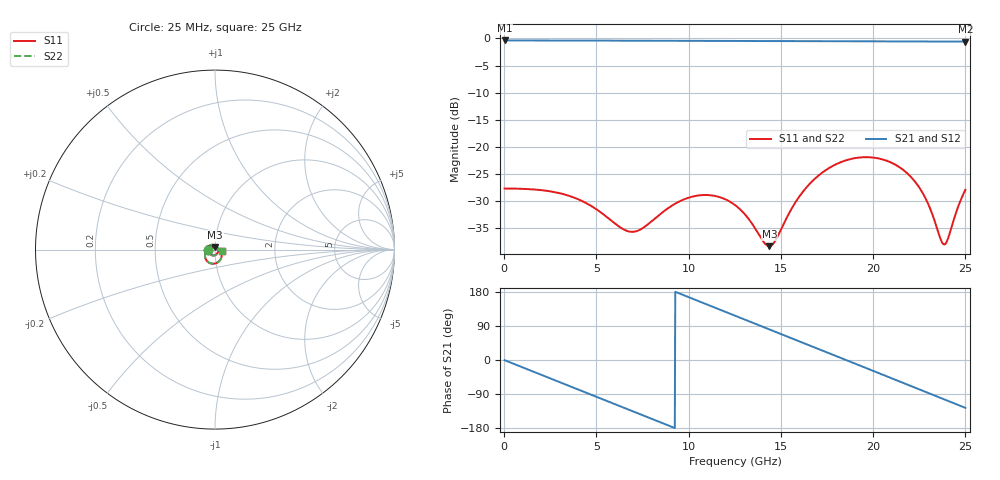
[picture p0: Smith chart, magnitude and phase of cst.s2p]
! thru_RG_ts6p_L4: 2×thru, L4, 8 mm
! stackup: ThunderScope Rev5.3 6-layer with the In2 plane
! ports: 1, 2
! CST Studio Suite 2025.5 Release from 2025-05-30, time domain (FIT, hexahedral, PBA), 26754 mesh cells, 16 s
! mesh: {'lpw': 20, 'lpb': 20, 'minstep': 0.0, 'ratio': 20}; ports: port 1 (face); port 2 (face)
! interpolated from CST's 1001 samples to the case grid
# Hz S RI R 50
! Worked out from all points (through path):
!   1000 points, 25 MHz to 25 GHz, reference 50 ohm
!   highest |S21| = -0.37 dB at 25 MHz (marker M1); lowest = -0.6 dB at 25 GHz (marker M2)
!   group delay of S21, straight-line fit = 54 ps
!   lowest |S11| = -38.3 dB at 14.38 GHz (marker M3), VSWR 1.02, Z = 50.1 + j1.21 ohm
!   |S11| at or under -10 dB: start of sweep to end of sweep
!   |S22| runs from -38.3 to -21.9 dB; largest |S21 - S12| = 5.4e-07
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2.5e7  -0.0413 0.000183  0.9587 -0.00813  0.9587 -0.00813  -0.0413 0.000183
1.9e9  -0.0375 0.0143  0.7659 -0.5757  0.7659 -0.5757  -0.0375 0.0143
3.1e9  -0.0293 0.0228  0.4752 -0.8312  0.4752 -0.8312  -0.0293 0.0228
4.2e9  -0.0168 0.027  0.1398 -0.9463  0.1398 -0.9463  -0.0168 0.027
5.45e9  0.000542 0.0234  -0.261 -0.9192  -0.261 -0.9192  0.000542 0.0234
6.775e9  0.0147 0.00765  -0.6331 -0.7143  -0.6331 -0.7143  0.0147 0.00765
8.35e9  0.0139 -0.0186  -0.9073 -0.2929  -0.9073 -0.2929  0.0139 -0.0186
9.325e9  0.00245 -0.0302  -0.9526 0.0172  -0.9526 0.0172  0.00245 -0.0302
1.0325e10  -0.0133 -0.0325  -0.8921 0.3327  -0.8921 0.3327  -0.0133 -0.0325
1.1375e10  -0.0267 -0.0233  -0.7195 0.6223  -0.7195 0.6223  -0.0267 -0.0233
1.2525e10  -0.0286 -0.00503  -0.4282 0.8483  -0.4282 0.8483  -0.0286 -0.00503
1.4375e10  0.00125 0.0121  0.1515 0.9359  0.1515 0.9359  0.00125 0.0121
1.5475e10  0.025 0.00032  0.4817 0.8149  0.4817 0.8149  0.025 0.00032
1.6675e10  0.0373 -0.0299  0.7638 0.5564  0.7638 0.5564  0.0373 -0.0299
1.7725e10  0.0278 -0.0593  0.9086 0.2546  0.9086 0.2546  0.0278 -0.0593
1.875e10  0.00217 -0.077  0.9397 -0.0705  0.9397 -0.0705  0.00217 -0.077
1.9775e10  -0.0291 -0.0748  0.8582 -0.3865  0.8582 -0.3865  -0.0291 -0.0748
2.085e10  -0.0523 -0.0513  0.6625 -0.6669  0.6625 -0.6669  -0.0523 -0.0513
2.25e10  -0.0422 -0.00162  0.2049 -0.9158  0.2049 -0.9158  -0.0422 -0.00161
2.3825e10  0.000862 0.0126  -0.2154 -0.9119  -0.2154 -0.9119  0.000863 0.0126
2.4025e10  0.00819 0.0111  -0.2771 -0.8948  -0.2771 -0.8948  0.00819 0.0111
2.5e10  0.039 -0.00969  -0.5536 -0.7539  -0.5536 -0.7539  0.039 -0.00969
